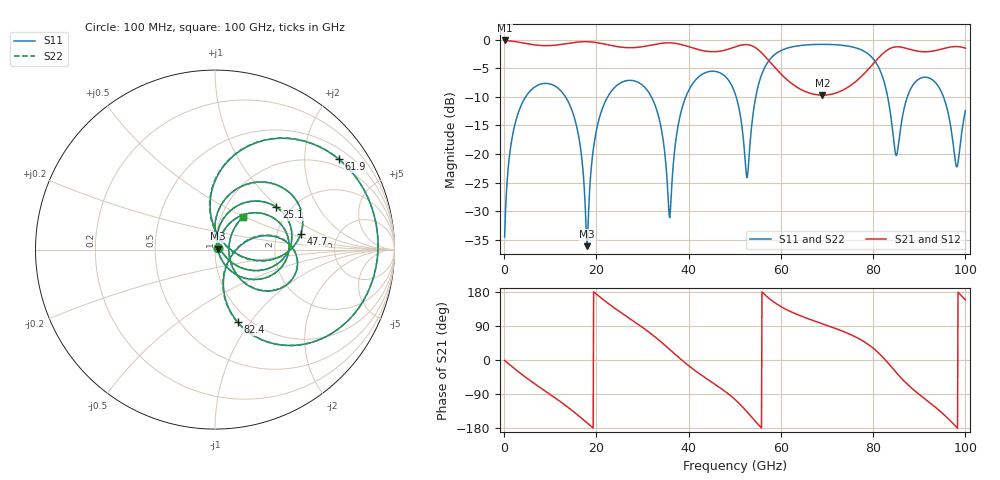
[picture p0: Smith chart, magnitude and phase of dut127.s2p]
! Touchstone file exported from HFSS 2026.1.0
!  File:  C:/ffzhzh/LocalFiles/Ansys_Project_Files/temp_train_TSV_RDL_127_1783638536_33328.aedt
!  Generated:  07:16:54 AM Jul 10, 2026
!  Design:  TSV_RDL
!  Project:  temp_train_TSV_RDL_127_1783638536_33328
! Variables:
!  h_bsmrdl = 4.34um
!  h_ox = 20um
!  h_rdl = 5um
!  h_sub = 91.31um
!  h_tmrdl = 2.68um
!  h_tsv = 91.31um
!  h_via = 3um
!  l_bsmrdl = 134.39um
!  l_sub = 2724.58um
!  l_tmrdl = 457.11um
!  m_sub = 200um
!  pitch = 44.78um
!  r_tsv = 12.94um
!  s_tmrdl = 10um
!  w_bsmrdl = 11.49um
!  w_sub = 500um
!  w_tmrdl = 19.5um
!  x_tsv_center1 = 466.86um
!  x_tsv_center2 = 612.74um
!  x_tsv_center3 = 1089.35um
!  x_tsv_center4 = 1235.23um
!  x_tsv_center5 = 1711.84um
!  x_tsv_center6 = 1857.72um
# GHz S MA R 50.000000
! Terminal data exported
! Port[1] = TM_RDL1_1_T1
! Port[2] = TM_RDL5_1_T1
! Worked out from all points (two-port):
!   1000 points, 100 MHz to 100 GHz, reference 50 ohm
!   highest |S21| = -0.14 dB at 100 MHz (marker M1); lowest = -9.7 dB at 69 GHz (marker M2)
!   |S21| within 3 dB of the highest: start of sweep to 56.8 GHz; 81.24 GHz to end of sweep
!   lowest |S11| = -36.1 dB at 18 GHz (marker M3), VSWR 1.03, Z = 51.5 + j0.586 ohm
!   |S11| at or under -10 dB: 13.29 GHz to 22.45 GHz (9.159 GHz wide, 51.2 % of centre); 31.92 GHz to 39.39 GHz (7.476 GHz wide, 21 % of centre); 95.24 GHz to end of sweep (the widest 3 of 6)
!   |S22| runs from -36.5 to -0.8 dB; largest |S21 - S12| = 9.9e-13
!   S11 on the Smith chart (normalised r, x): 100 MHz: 1.03, +0.02; 25.1 GHz: 1.69, +0.97; 47.7 GHz: 2.72, +0.63; 61.9 GHz: 0.77, +2.88; 82.4 GHz: 0.89, -0.88; 100 GHz: 1.26, +0.49
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0.1  0.0188 27.6  0.9835 -1.1  0.9835 -1.1  0.0188 27.6
! Gamma 0 0 0 0
! Port Impedance 50 0 50 0
6.3  0.3765 26.7  0.9027 -60.1  0.9027 -60.1  0.3765 26.7
16.8  0.0941 -56.8  0.958 -153.8  0.958 -153.8  0.09403 -57.2
18  0.01562 21.4  0.9593 -166.0  0.9593 -166.0  0.01489 21.7
20.4  0.1894 73.6  0.9369 169.8  0.9369 169.8  0.1893 73.8
25.1  0.4154 34.8  0.8623 127.0  0.8623 127.0  0.4154 34.8
33.4  0.2189 -31.2  0.9196 54.1  0.9196 54.1  0.2189 -31.1
35.9  0.02771 30.7  0.9374 27.7  0.9374 27.7  0.02815 30.7
39.6  0.3313 73.7  0.8775 -11.1  0.8775 -11.1  0.3314 73.6
47.7  0.4855 10.4  0.8062 -81.1  0.8062 -81.1  0.4856 10.3
50.1  0.3347 -8.7  0.8644 -104.8  0.8644 -104.8  0.3346 -9.0
52.7  0.06211 46.6  0.9038 -137.4  0.9038 -137.4  0.05943 46.6
55.8  0.491 82.2  0.7677 -179.3  0.7677 -179.3  0.4904 82.6
61.9  0.854 36.1  0.4267 128.9  0.4267 128.9  0.8539 36.3
66.7  0.9049 14.4  0.3362 105.4  0.3362 105.4  0.9049 14.5
69  0.9094 5.4  0.3268 95.5  0.3268 95.5  0.9094 5.4
82.4  0.4244 -72.5  0.7728 3.5  0.7728 3.5  0.4241 -72.8
83.4  0.2785 -78.1  0.8258 -10.2  0.8258 -10.2  0.2777 -78.6
85.1  0.09788 -22.8  0.8651 -34.3  0.8651 -34.3  0.09486 -22.5
91  0.4685 -11.9  0.7829 -100.6  0.7829 -100.6  0.4681 -11.5
98.1  0.07713 -2.9  0.8699 -177.3  0.8699 -177.3  0.07804 -2.4
100  0.2386 49.4  0.8422 158.8  0.8422 158.8  0.239 49.5
